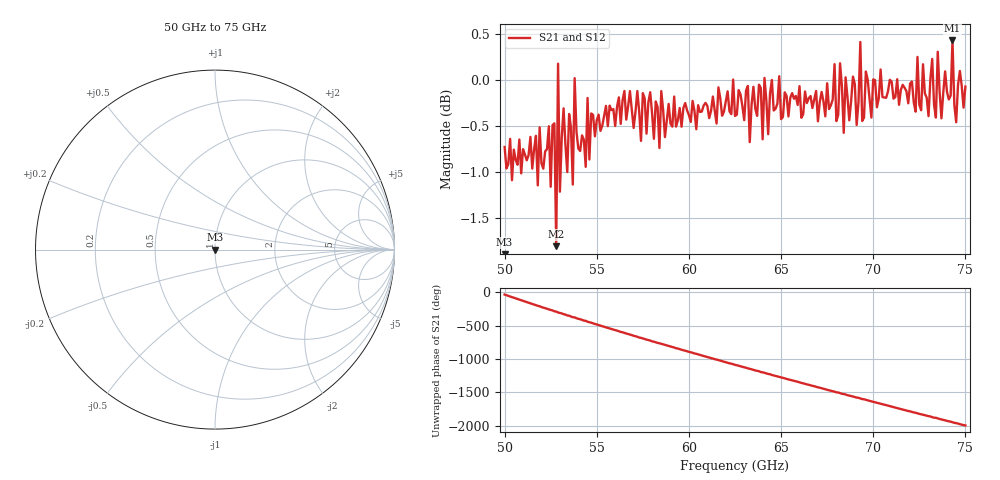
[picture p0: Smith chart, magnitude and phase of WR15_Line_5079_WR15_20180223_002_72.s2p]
# GHZ S RI R 50
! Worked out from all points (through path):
!   251 points, 50 GHz to 75 GHz, reference 50 ohm
!   highest |S21| = 0.43 dB at 74.3 GHz (marker M1); lowest = -1.8 dB at 52.8 GHz (marker M2)
!   lowest |S11| = - dB at 50 GHz (marker M3), VSWR 1.00, Z = 50 - j8.15e-17 ohm
!   |S11| at or under -10 dB: start of sweep to end of sweep
!   |S22| runs from - to - dB; largest |S21 - S12| = 1.5e-15
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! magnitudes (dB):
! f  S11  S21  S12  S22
! 50 GHz  -  -0.7  -0.7  -
! 52.4 GHz  -  -0.5  -0.5  -
! 52.5 GHz  -  -1.2  -1.2  -
! 52.7 GHz  -  -0.5  -0.5  -
! 52.8 GHz  -  -1.8  -1.8  -
! 52.9 GHz  -  0.2  0.2  -
! 53 GHz  -  -1.2  -1.2  -
! 53.2 GHz  -  -0.3  -0.3  -
! 53.7 GHz  -  -1.1  -1.1  -
! 53.8 GHz  -  0.0  0.0  -
! 54.2 GHz  -  -0.6  -0.6  -
! 58.4 GHz  -  -0.7  -0.7  -
! 58.5 GHz  -  -0.1  -0.1  -
! 62.5 GHz  -  -0.4  -0.4  -
! 66.7 GHz  -  -0.3  -0.3  -
! 70.9 GHz  -  0.0  0.0  -
! 73.4 GHz  -  -0.4  -0.4  -
! 73.5 GHz  -  0.3  0.3  -
! 73.7 GHz  -  -0.4  -0.4  -
! 74.3 GHz  -  0.4  0.4  -
! 74.5 GHz  -  -0.5  -0.5  -
! 75 GHz  -  -0.1  -0.1  -
